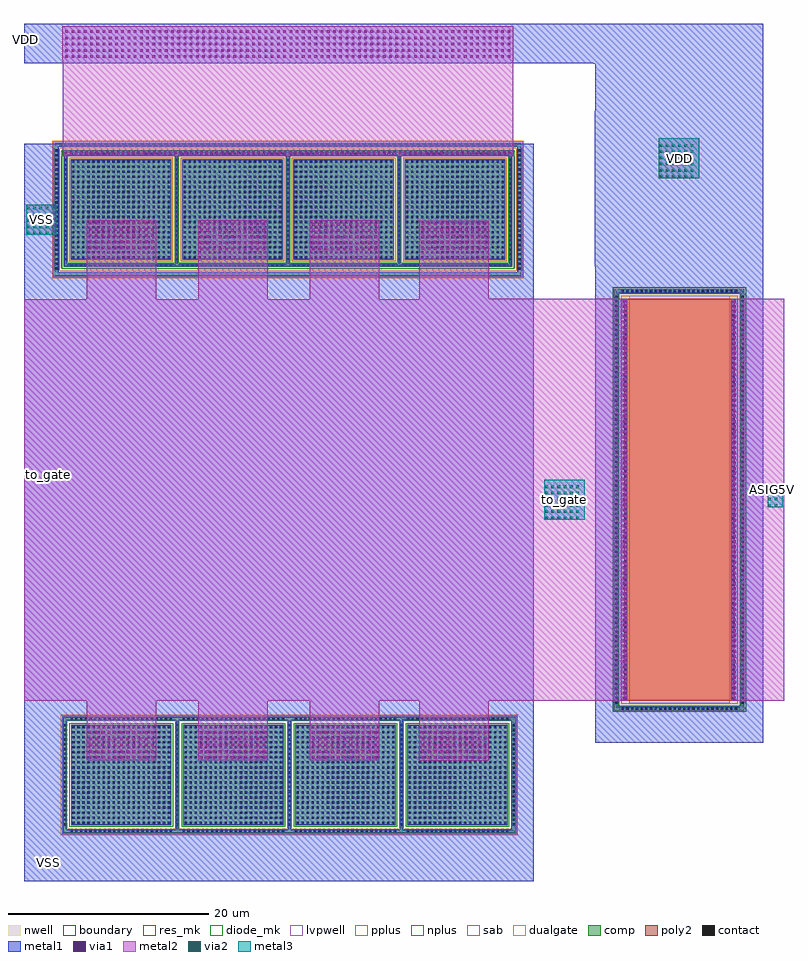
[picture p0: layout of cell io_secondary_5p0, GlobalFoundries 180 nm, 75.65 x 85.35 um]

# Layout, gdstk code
from math import pi, radians
import gdstk
lib = gdstk.Library(unit=1e-6, precision=1e-09)
def R(c, l, rs):  # rectangles x0, y0, x1, y1
    for r in rs: c.add(gdstk.rectangle(r[:2], r[2:], *l))
def A(c, l, x, y, w, h, nx, ny, dx, dy):  # array of equal rectangles
    R(c, l, [(x+i*dx, y+j*dy, x+i*dx+w, y+j*dy+h) for i in range(nx) for j in range(ny)])
boundary = (0, 0)
nwell = (21, 0)
comp = (22, 0)
poly2 = (30, 0)
pplus = (31, 0)
nplus = (32, 0)
contact = (33, 0)
metal1 = (34, 0)
via1 = (35, 0)
metal2 = (36, 0)
via2 = (38, 0)
metal3 = (42, 0)
sab = (49, 0)
dualgate = (55, 0)
res_mk = (110, 5)
diode_mk = (115, 5)
lvpwell = (204, 0)

ppolyf_u_9h3lnu = lib.new_cell('ppolyf_u_9H3LNU')
R(ppolyf_u_9h3lnu, boundary, [(-20.78,-6.29,20.78,6.29)])
R(ppolyf_u_9h3lnu, nwell, [(-21.08,-6.59,21.08,6.59)])
R(ppolyf_u_9h3lnu, comp, [(-20.96,-6.47,20.96,-6.11), (-20.96,-6.11,-20.6,6.11), (20.6,-6.11,20.96,6.11), (-20.96,6.11,20.96,6.47)])
R(ppolyf_u_9h3lnu, poly2, [(-20,-5.51,20,5.51)])
R(ppolyf_u_9h3lnu, pplus, [(-20.3,-5.81,20.3,5.81)])
R(ppolyf_u_9h3lnu, nplus, [(-21.12,-6.63,21.12,-6), (-21.12,-6,-20.49,6), (20.49,-6,21.12,6), (-21.12,6,21.12,6.63)])
A(ppolyf_u_9h3lnu, contact, -20.32, -6.4, 0.22, 0.22, 87, 2, 0.47, 12.58)
A(ppolyf_u_9h3lnu, contact, -20.89, -5.75, 0.22, 0.22, 1, 25, 0, 0.47)
A(ppolyf_u_9h3lnu, contact, 20.67, -5.75, 0.22, 0.22, 1, 25, 0, 0.47)
A(ppolyf_u_9h3lnu, contact, -19.85, -5.44, 0.22, 0.22, 85, 2, 0.47, 10.66)
R(ppolyf_u_9h3lnu, metal1, [(-20.895,-6.405,20.895,-6.175), (-20.895,-6.175,-20.665,6.175), (20.665,-6.175,20.895,6.175), (-19.99,-5.445,19.99,-5.215), (-19.99,5.215,19.99,5.445), (-20.895,6.175,20.895,6.405)])
R(ppolyf_u_9h3lnu, sab, [(-20.28,-5,20.28,5)])
R(ppolyf_u_9h3lnu, res_mk, [(-20,-5,20,5)])

diode_nd2ps_06v0_mv3sz3 = lib.new_cell('diode_nd2ps_06v0_MV3SZ3')
R(diode_nd2ps_06v0_mv3sz3, boundary, [(11.16,-5.58,22.32,5.58)])
A(diode_nd2ps_06v0_mv3sz3, comp, -22.5, -5.4, 0.36, 10.8, 5, 1, 11.16, 0)
A(diode_nd2ps_06v0_mv3sz3, comp, -21.74, -5, 10, 10, 4, 1, 11.16, 0)
R(diode_nd2ps_06v0_mv3sz3, comp, [(-22.5,-5.76,22.5,-5.4), (-22.5,5.4,22.5,5.76)])
A(diode_nd2ps_06v0_mv3sz3, pplus, -22.015, -5.79, 10.55, 0.01, 4, 2, 11.16, 11.57)
A(diode_nd2ps_06v0_mv3sz3, pplus, -11.37, -5.37, 0.42, 10.74, 3, 1, 11.16, 0)
R(diode_nd2ps_06v0_mv3sz3, pplus, [(-22.52,-5.78,22.52,-5.37), (-22.52,-5.37,-22.11,-5.275), (22.11,-5.37,22.52,-5.275), (-22.53,-5.275,-22.11,5.275), (22.11,-5.275,22.53,5.275), (-22.52,5.275,-22.11,5.37), (22.11,5.275,22.52,5.37), (-22.52,5.37,22.52,5.78)])
A(diode_nd2ps_06v0_mv3sz3, nplus, -21.9, -5.16, 10.32, 10.32, 4, 1, 11.16, 0)
A(diode_nd2ps_06v0_mv3sz3, contact, -21.785, -5.69, 0.22, 0.22, 22, 2, 0.47, 11.16)
A(diode_nd2ps_06v0_mv3sz3, contact, -10.625, -5.69, 0.22, 0.22, 22, 2, 0.47, 11.16)
A(diode_nd2ps_06v0_mv3sz3, contact, 0.535, -5.69, 0.22, 0.22, 22, 2, 0.47, 11.16)
A(diode_nd2ps_06v0_mv3sz3, contact, 11.695, -5.69, 0.22, 0.22, 22, 2, 0.47, 11.16)
A(diode_nd2ps_06v0_mv3sz3, contact, -22.43, -5.045, 0.22, 0.22, 5, 22, 11.16, 0.47)
A(diode_nd2ps_06v0_mv3sz3, contact, -21.6, -4.86, 0.22, 0.22, 20, 20, 0.5, 0.5)
A(diode_nd2ps_06v0_mv3sz3, contact, -10.44, -4.86, 0.22, 0.22, 20, 20, 0.5, 0.5)
A(diode_nd2ps_06v0_mv3sz3, contact, 0.72, -4.86, 0.22, 0.22, 20, 20, 0.5, 0.5)
A(diode_nd2ps_06v0_mv3sz3, contact, 11.88, -4.86, 0.22, 0.22, 20, 20, 0.5, 0.5)
A(diode_nd2ps_06v0_mv3sz3, metal1, -22.435, -5.465, 0.23, 10.93, 5, 1, 11.16, 0)
A(diode_nd2ps_06v0_mv3sz3, metal1, -21.73, -4.935, 9.98, 9.87, 4, 1, 11.16, 0)
R(diode_nd2ps_06v0_mv3sz3, metal1, [(-22.435,-5.695,22.435,-5.465), (-22.435,5.465,22.435,5.695)])
R(diode_nd2ps_06v0_mv3sz3, dualgate, [(-22.74,-6,22.74,6)])
A(diode_nd2ps_06v0_mv3sz3, diode_mk, -21.74, -5, 10, 10, 4, 1, 11.16, 0)
R(diode_nd2ps_06v0_mv3sz3, lvpwell, [(-22.62,-5.88,22.62,5.88)])

diode_pd2nw_06v0_5dg9hc = lib.new_cell('diode_pd2nw_06v0_5DG9HC')
R(diode_pd2nw_06v0_5dg9hc, boundary, [(11.08,-5.54,22.16,5.54)])
R(diode_pd2nw_06v0_5dg9hc, nwell, [(-22.5,-5.88,22.5,5.88)])
A(diode_pd2nw_06v0_5dg9hc, comp, -22.34, -5.36, 0.36, 10.72, 5, 1, 11.08, 0)
A(diode_pd2nw_06v0_5dg9hc, comp, -21.62, -5, 10, 10, 4, 1, 11.08, 0)
R(diode_pd2nw_06v0_5dg9hc, comp, [(-23.22,-6.6,23.22,-6.24), (-23.22,-6.24,-22.86,6.24), (22.86,-6.24,23.22,6.24), (-22.34,-5.72,22.34,-5.36), (-22.34,5.36,22.34,5.72), (-23.22,6.24,23.22,6.6)])
A(diode_pd2nw_06v0_5dg9hc, pplus, -21.78, -5.16, 10.32, 10.32, 4, 1, 11.08, 0)
R(diode_pd2nw_06v0_5dg9hc, pplus, [(-23.24,-6.62,23.24,-6.115), (-23.25,-6.115,23.25,-6.08), (-23.25,-6.08,-22.7,6.08), (22.7,-6.08,23.25,6.08), (-23.25,6.08,23.25,6.115), (-23.24,6.115,23.24,6.62)])
A(diode_pd2nw_06v0_5dg9hc, nplus, -11.29, -5.29, 0.42, 10.58, 3, 1, 11.08, 0)
R(diode_pd2nw_06v0_5dg9hc, nplus, [(-22.5,-5.88,22.5,-5.29), (-22.5,-5.29,-21.91,5.29), (21.91,-5.29,22.5,5.29), (-22.5,5.29,22.5,5.88)])
A(diode_pd2nw_06v0_5dg9hc, contact, -23.15, -5.985, 0.22, 0.22, 1, 26, 0, 0.47)
A(diode_pd2nw_06v0_5dg9hc, contact, 22.93, -5.985, 0.22, 0.22, 1, 26, 0, 0.47)
A(diode_pd2nw_06v0_5dg9hc, contact, -21.665, -5.65, 0.22, 0.22, 22, 2, 0.47, 11.08)
A(diode_pd2nw_06v0_5dg9hc, contact, -10.585, -5.65, 0.22, 0.22, 22, 2, 0.47, 11.08)
A(diode_pd2nw_06v0_5dg9hc, contact, 0.495, -5.65, 0.22, 0.22, 22, 2, 0.47, 11.08)
A(diode_pd2nw_06v0_5dg9hc, contact, 11.575, -5.65, 0.22, 0.22, 22, 2, 0.47, 11.08)
A(diode_pd2nw_06v0_5dg9hc, contact, -22.27, -5.045, 0.22, 0.22, 5, 22, 11.08, 0.47)
A(diode_pd2nw_06v0_5dg9hc, contact, -21.48, -4.86, 0.22, 0.22, 20, 20, 0.5, 0.5)
A(diode_pd2nw_06v0_5dg9hc, contact, -10.4, -4.86, 0.22, 0.22, 20, 20, 0.5, 0.5)
A(diode_pd2nw_06v0_5dg9hc, contact, 0.68, -4.86, 0.22, 0.22, 20, 20, 0.5, 0.5)
A(diode_pd2nw_06v0_5dg9hc, contact, 11.76, -4.86, 0.22, 0.22, 20, 20, 0.5, 0.5)
A(diode_pd2nw_06v0_5dg9hc, metal1, -22.275, -5.425, 0.23, 10.85, 5, 1, 11.08, 0)
A(diode_pd2nw_06v0_5dg9hc, metal1, -21.61, -4.935, 9.98, 9.87, 4, 1, 11.08, 0)
R(diode_pd2nw_06v0_5dg9hc, metal1, [(-23.155,-6.535,23.155,-6.305), (-23.155,-6.305,-22.925,6.305), (22.925,-6.305,23.155,6.305), (-22.275,-5.655,22.275,-5.425), (-22.275,5.425,22.275,5.655), (-23.155,6.305,23.155,6.535)])
R(diode_pd2nw_06v0_5dg9hc, dualgate, [(-23.46,-6.84,23.46,6.84)])
A(diode_pd2nw_06v0_5dg9hc, diode_mk, -21.62, -5, 10, 10, 4, 1, 11.08, 0)
R(diode_pd2nw_06v0_5dg9hc, lvpwell, [(-23.38,-6.76,23.38,-5.88), (-23.38,-5.88,-22.5,5.88), (22.5,-5.88,23.38,5.88), (-23.38,5.88,23.38,6.76)])

io_secondary_5p0 = lib.new_cell('io_secondary_5p0')
R(io_secondary_5p0, metal1, [(0,0,50.76,5.1), (0,5.1,4.21,15.9), (48.51,5.1,50.76,14.75), (6.29,12.085,13.095,15.005), (17.375,12.085,24.18,15.005), (28.5,12.1,35.305,15.02), (39.4,12.1,46.205,15.02), (56.85,13.8,73.6,17.45), (48.5,14.75,50.76,15.9), (0,15.9,4.2,16.05), (48.5,15.9,50.75,16.05), (0,16.05,50.75,60.6), (56.85,17.45,59.15,58.55), (71.35,17.45,73.6,58.55), (59.4,17.95,60.05,58), (70.4,17.95,71.05,58), (56.85,58.55,73.6,61.2), (0,60.6,3.45,73.4), (49.1,60.6,50.75,73.4), (56.8,61.2,73.6,76.65), (28.495,62.695,35.3,65.615), (17.37,62.715,24.175,65.635), (39.4,62.765,46.205,65.685), (6.285,62.81,13.09,65.73), (3.9,72.2,4.15,72.25), (48.45,72.2,48.7,72.25), (3.9,72.25,48.7,72.7), (3.9,72.7,4.15,72.75), (48.45,72.7,48.7,72.75), (56.85,76.65,73.6,81.39), (56.7,81.39,73.6,81.4), (0,81.4,73.6,85.35)])
A(io_secondary_5p0, via1, 6.46, 12.175, 0.26, 0.26, 11, 5, 0.62, 0.62)
A(io_secondary_5p0, via1, 17.545, 12.175, 0.26, 0.26, 11, 5, 0.62, 0.62)
A(io_secondary_5p0, via1, 28.67, 12.19, 0.26, 0.26, 11, 5, 0.62, 0.62)
A(io_secondary_5p0, via1, 39.57, 12.19, 0.26, 0.26, 11, 5, 0.62, 0.62)
A(io_secondary_5p0, via1, 59.595, 18.085, 0.26, 0.26, 1, 77, 0, 0.52)
A(io_secondary_5p0, via1, 70.595, 18.085, 0.26, 0.26, 1, 77, 0, 0.52)
A(io_secondary_5p0, via1, 28.665, 62.785, 0.26, 0.26, 11, 5, 0.62, 0.62)
A(io_secondary_5p0, via1, 17.54, 62.805, 0.26, 0.26, 11, 5, 0.62, 0.62)
A(io_secondary_5p0, via1, 39.57, 62.855, 0.26, 0.26, 11, 5, 0.62, 0.62)
A(io_secondary_5p0, via1, 6.455, 62.9, 0.26, 0.26, 11, 5, 0.62, 0.62)
A(io_secondary_5p0, via1, 0.285, 64.385, 0.26, 0.26, 5, 5, 0.62, 0.62)
A(io_secondary_5p0, via1, 63.26, 70.01, 0.26, 0.26, 6, 6, 0.62, 0.62)
A(io_secondary_5p0, via1, 4.01, 72.345, 0.26, 0.26, 86, 1, 0.52, 0)
A(io_secondary_5p0, via1, 4.11, 81.955, 0.26, 0.26, 72, 5, 0.62, 0.62)
A(io_secondary_5p0, metal2, 6.25, 12.05, 6.9, 5.9, 3, 1, 11.1, 0)
A(io_secondary_5p0, metal2, 6.25, 57.95, 6.9, 7.85, 3, 1, 11.1, 0)
R(io_secondary_5p0, metal2, [(39.35,12,46.25,17.95), (0,17.95,60.05,57.95), (70.4,17.95,75.65,58), (39.35,57.95,60.05,58), (39.35,58,46.25,65.75), (0.225,64.325,3.225,67.325), (63.2,69.95,67.2,73.95), (3.85,72.15,48.7,79.75), (3.845,79.75,48.7,81.09), (3.835,81.09,48.7,81.75), (3.8,81.75,48.7,85.1)])
A(io_secondary_5p0, via2, 51.86, 36.035, 0.26, 0.26, 6, 6, 0.62, 0.62)
A(io_secondary_5p0, via2, 0.285, 64.385, 0.26, 0.26, 5, 5, 0.62, 0.62)
A(io_secondary_5p0, via2, 63.26, 70.01, 0.26, 0.26, 6, 6, 0.62, 0.62)
R(io_secondary_5p0, via2, [(74.085,37.285,74.345,37.545), (74.705,37.285,74.965,37.545), (74.085,37.905,74.345,38.165), (74.705,37.905,74.965,38.165)])
R(io_secondary_5p0, metal3, [(51.8,35.975,55.8,39.975), (74.025,37.225,75.525,38.725), (0.225,64.325,3.225,67.325), (63.2,69.95,67.2,73.95)])
io_secondary_5p0.add(gdstk.Reference(ppolyf_u_9h3lnu, (65.24,37.98), rotation=3*pi/2))
io_secondary_5p0.add(gdstk.Reference(diode_nd2ps_06v0_mv3sz3, (26.42,10.58)))
io_secondary_5p0.add(gdstk.Reference(diode_pd2nw_06v0_5dg9hc, (26.28,66.86)))
io_secondary_5p0.add(gdstk.Label('VDD', (0.16,83.74), layer=34, texttype=0))
io_secondary_5p0.add(gdstk.Label('VSS', (2.46,1.9), layer=34, texttype=0))
io_secondary_5p0.add(gdstk.Label('ASIG5V', (74.485,39.03), layer=36, texttype=0))
io_secondary_5p0.add(gdstk.Label('to_gate', (2.45,40.5), layer=36, texttype=0))
io_secondary_5p0.add(gdstk.Label('ASIG5V', (74.485,39.03), layer=36, texttype=10))
io_secondary_5p0.add(gdstk.Label('to_gate', (2.45,40.5), layer=36, texttype=10))
io_secondary_5p0.add(gdstk.Label('VDD', (0.16,83.74), layer=34, texttype=10))
io_secondary_5p0.add(gdstk.Label('VSS', (2.46,1.9), layer=34, texttype=10))
io_secondary_5p0.add(gdstk.Label('VDD', (65.2,71.95), layer=42, texttype=0))
io_secondary_5p0.add(gdstk.Label('VSS', (1.725,65.825), layer=42, texttype=0))
io_secondary_5p0.add(gdstk.Label('ASIG5V', (74.775,37.975), layer=42, texttype=0))
io_secondary_5p0.add(gdstk.Label('to_gate', (53.8,37.975), layer=42, texttype=0))
io_secondary_5p0.add(gdstk.Label('VDD', (65.2,71.95), layer=42, texttype=10))
io_secondary_5p0.add(gdstk.Label('VSS', (1.725,65.825), layer=42, texttype=10))
io_secondary_5p0.add(gdstk.Label('ASIG5V', (74.775,37.975), layer=42, texttype=10))
io_secondary_5p0.add(gdstk.Label('to_gate', (53.8,37.975), layer=42, texttype=10))

lib.write_gds('io_secondary_5p0.gds')
